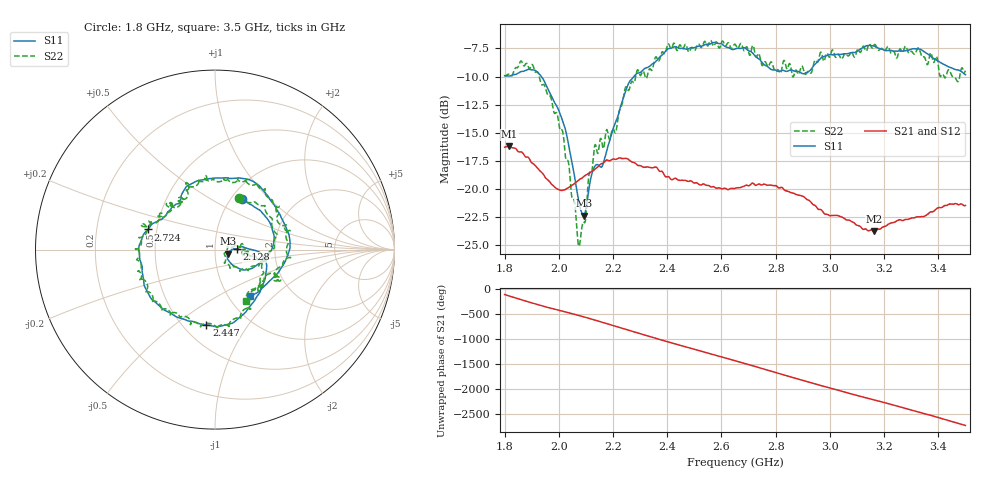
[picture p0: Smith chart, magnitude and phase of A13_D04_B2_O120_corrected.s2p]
! Created with skrf 1.9.0 (http://scikit-rf.org).
# Hz S RI R 50.0
!freq ReS11 ImS11 ReS21 ImS21 ReS12 ImS12 ReS22 ImS22
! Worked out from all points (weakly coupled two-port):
!   1601 points, 1.8 GHz to 3.5 GHz, reference 50 ohm
!   highest |S21| = -16.22 dB at 1.817 GHz (marker M1); lowest = -23.8 dB at 3.163 GHz (marker M2)
!   lowest |S11| = -22.4 dB at 2.092 GHz (marker M3), VSWR 1.16, Z = 57.8 - j2.58 ohm
!   |S11| at or under -10 dB: 1.936 GHz to 2.277 GHz (340.9 MHz wide, 16.2 % of centre)
!   |S22| runs from -25.1 to -6.8 dB; largest |S21 - S12| = 0.0026
!   S11 on the Smith chart (normalised r, x): 1.8 GHz: 1.13, +0.70; 2.128 GHz: 1.28, +0.01; 2.447 GHz: 0.65, -0.66; 2.724 GHz: 0.45, +0.12; 3.5 GHz: 1.26, -0.72
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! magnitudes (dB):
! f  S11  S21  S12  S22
! 1.8 GHz  -9.9  -16.3  -16.3  -9.9
! 1.817 GHz  -10.0  -16.2  -16.2  -9.8
! 1.902 GHz  -9.4  -17.7  -17.7  -8.9
! 1.968 GHz  -11.5  -19.4  -19.4  -11.7
! 2.023 GHz  -14.6  -20.1  -20.0  -16.8
! 2.071 GHz  -20.7  -19.3  -19.3  -24.8
! 2.084 GHz  -22.1  -19.1  -19.0  -23.6
! 2.092 GHz  -22.4  -18.9  -18.9  -22.9
! 2.128 GHz  -18.2  -18.3  -18.3  -16.9
! 2.163 GHz  -17.8  -17.7  -17.6  -16.4
! 2.209 GHz  -14.1  -17.4  -17.3  -15.0
! 2.26 GHz  -10.5  -17.4  -17.4  -11.1
! 2.367 GHz  -8.4  -18.3  -18.2  -8.6
! 2.447 GHz  -7.5  -19.2  -19.2  -7.2
! 2.65 GHz  -7.5  -19.9  -19.9  -7.1
! 2.724 GHz  -8.2  -19.7  -19.6  -8.0
! 2.804 GHz  -9.5  -19.7  -19.8  -9.5
! 2.934 GHz  -9.3  -21.3  -21.2  -9.6
! 3.163 GHz  -7.3  -23.8  -23.7  -7.2
! 3.217 GHz  -7.7  -23.1  -23.1  -7.4
! 3.416 GHz  -8.9  -21.6  -21.6  -9.8
! 3.5 GHz  -9.8  -21.5  -21.5  -9.5
